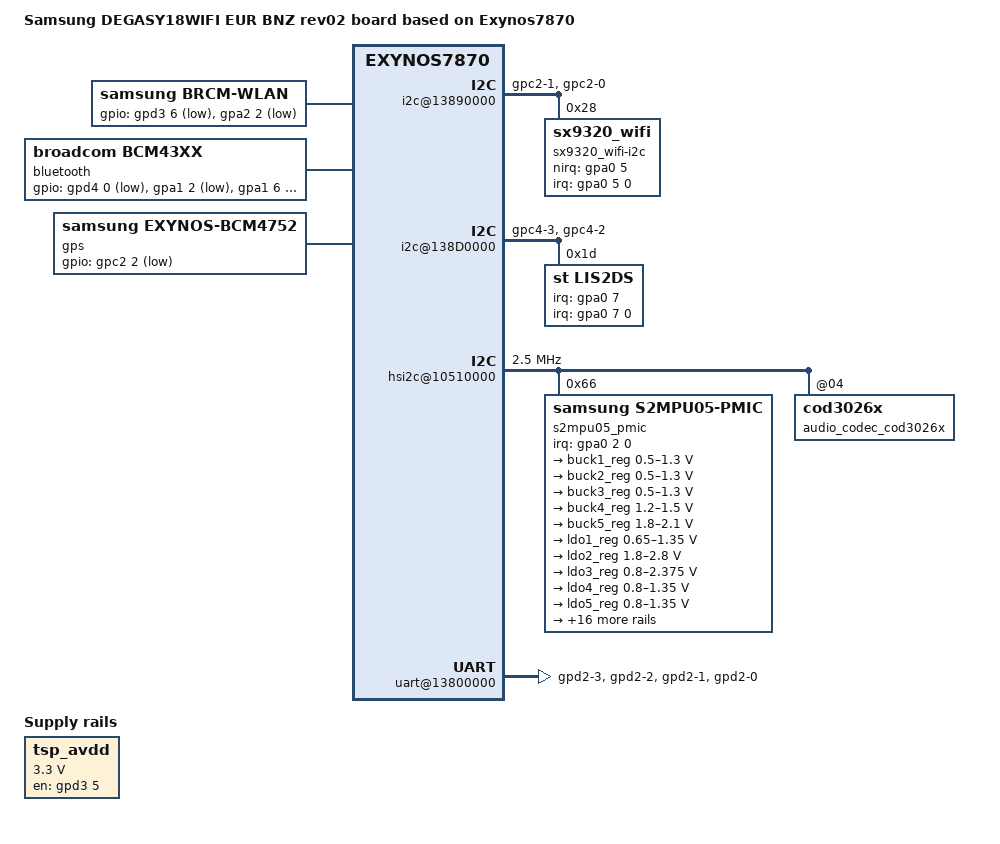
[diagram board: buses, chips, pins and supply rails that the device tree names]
/*
 * SAMSUNG UNIVERSAL8890 board device tree source
 *
 * Copyright (c) 2013 Samsung Electronics Co., Ltd.
 *		http://www.samsung.com
 *
 * This program is free software; you can redistribute it and/or modify
 * it under the terms of the GNU General Public License version 2 as
 * published by the Free Software Foundation.
 */

/dts-v1/;
#include "exynos7870-degasy18wifi_common.dtsi"
#include "modem-ss315ap-pdata.dtsi"
#include "exynos7870-degasy18wifi_eur_bnz_gpio_02.dtsi"
#include "exynos7870-degasy18wifi_eur_bnz_battery_00.dtsi"

/ {
	model = "Samsung DEGASY18WIFI EUR BNZ rev02 board based on Exynos7870";
	model_info-chip = <7870>;
	model_info-platform = "android";
	model_info-subtype = "samsung";
	model_info-hw_rev = <2>;
	model_info-hw_rev_end = <255>;
	compatible = "samsung, DEGASY18WIFI EUR BNZ 02", "samsung,exynos7870";

	pinctrl@139C0000 {
		grip_i2c: grip_i2c {
			samsung,pins = "gpc2-1", "gpc2-0";
			samsung,pin-function = <2>;
			samsung,pin-pud = <0>;
		};
	};

	pinctrl@139B0000 {
		sensor_i2c: sensor_i2c {
			samsung,pins = "gpc4-3", "gpc4-2";
			samsung,pin-function = <2>;
			samsung,pin-pud = <0>;
		};
	};

	pinctrl@139F0000 {
		grip_wifi_int: grip_wifi_int {
			samsung,pins = "gpa0-5";
			samsung,pin-function = <0xF>;
			samsung,pin-pud = <0>;
			samsung,pin-drv = <0>;
		};

		acc_int: acc_int {
			samsung,pins = "gpa0-7";
			samsung,pin-function = <0xF>;
			samsung,pin-pud = <0>;
			samsung,pin-drv = <0>;
		};
	};

	i2c@13890000{
		samsung,i2c-sda-delay = <100>;
		samsung,i2c-max-bus-freq = <400000>;
		status = "okay";
		#address-cells = <1>;
		#size-cells = <0>;
		pinctrl-names = "default";
		pinctrl-0 = <&grip_i2c>;

		sx9320_wifi-i2c@28 {
			compatible = "sx9320_wifi";
			reg = <0x28>;
			pinctrl-names = "default";
			pinctrl-0 = <&grip_wifi_int>;
			interrupt-parent = <&gpa0>;
			interrupts = <5 0 0>;

			sx9320,nirq-gpio = <&gpa0 5 0>;
			/* only phase 3 enable */
			sx9320,phen = <0x03>;
			sx9320,gain = <0x01>;
			sx9320,again = <0x08>;
			sx9320,scan_period = <0x16>;
			sx9320,range = <0x00>;
			sx9320,sampling_freq = <0x00>;
			sx9320,resolution = <0x07>;
			sx9320,rawfilt = <0x01>;
			sx9320,hyst = <0x01>;
			sx9320,avgposfilt = <0x04>;
			sx9320,avgnegfilt = <0x01>;
			sx9320,avgthresh = <0x20>;
			#sx9320,debouncer = <0x01>;
			sx9320,normal_thd = <0x20>;
		};
	};

	i2c@138D0000 {
		samsung,i2c-sda-delay = <100>;
		samsung,i2c-max-bus-freq = <400000>;
		status = "okay";
		#address-cells = <1>;
		#size-cells = <0>;
		pinctrl-names = "default";
		pinctrl-0 = <&sensor_i2c>;

		lis2ds@1D {
			compatible = "st,lis2ds";
			reg = <0x1D>;
			pinctrl-names = "default";
			pinctrl-0 = <&acc_int>;
			interrupt-parent = <&gpa0>;
			interrupts = <7 0 0>;
			st,orientation = <1 2 1 0 1 1 1 1 0>;
			st,drdy-int-pin = <1>;
			st,irq_gpio = <&gpa0 7 0x00>;
		};
	};

	hsi2c@10510000 {
		status = "okay";
		samsung,hs-mode;
		clock-frequency = <2500000>;
		samsung,hsi2c-batcher;
		#address-cells = <1>;
		#size-cells = <0>;

		s2mpu05_pmic@66 {
			compatible = "samsung,s2mpu05-pmic";
			reg = <0x66>;
			ten-bit-address;
			interrupts = <2 0 0>;
			interrupt-parent = <&gpa0>;
			pinctrl-names = "default";
			pinctrl-0 = <&pmic_irq &pm_wrsti>;
			g3d_en = <1>; /* 1 : enable , 0 : disable */
			buck2en_pin = "etc1-3";
			buck2en_addr = "139B0080.pinctrl";
			/* RTC: wtsr/smpl */
			wtsr_en = <1>; /* enable */
			smpl_en = <1>; /* enable */
			wtsr_timer_val = <3>;   /* 1000ms */
			smpl_timer_val = <0>;   /* 100ms */
			check_jigon = <1>; /* default is 0 but check jigon and disable smpl because of REV0.2 HW defect */
			/* RTC: If it's first boot, reset rtc to 1/1/2016 12:00:00(Fri) */
			init_time,sec = <0>;
			init_time,min = <0>;
			init_time,hour = <12>;
			init_time,mday = <1>;
			init_time,mon = <0>;
			init_time,year = <116>;
			init_time,wday = <5>;

			regulators {
				buck1_reg: BUCK1 {
					regulator-name = "BUCK1";
					regulator-min-microvolt = <500000>;
					regulator-max-microvolt = <1300000>;
					regulator-always-on;
					regulator-boot-on;
					regulator-ramp-delay = <12000>;
					regulator-initial-mode = <1>;
					regulator-expected-consumer = <2>;
				};

				buck2_reg: BUCK2 {
					regulator-name = "BUCK2";
					regulator-min-microvolt = <500000>;
					regulator-max-microvolt = <1300000>;
					regulator-always-on;
					regulator-boot-on;
					regulator-ramp-delay = <12000>;
					regulator-initial-mode = <2>;		/* MIF mode */
					regulator-expected-consumer = <4>;
				};

				buck3_reg: BUCK3 {
					regulator-name = "BUCK3";
					regulator-min-microvolt = <500000>;
					regulator-max-microvolt = <1300000>;
					regulator-always-on;
					regulator-boot-on;
					regulator-ramp-delay = <12000>;
					regulator-initial-mode = <2>;
				};

				buck4_reg: BUCK4 {
					regulator-name = "BUCK4";
					regulator-min-microvolt = <1200000>;
					regulator-max-microvolt = <1500000>;
					regulator-always-on;
					regulator-boot-on;
					regulator-ramp-delay = <12000>;
					regulator-initial-mode = <2>;
				};

				buck5_reg: BUCK5 {
					regulator-name = "BUCK5";
					regulator-min-microvolt = <1800000>;
					regulator-max-microvolt = <2100000>;
					regulator-always-on;
					regulator-boot-on;
					regulator-ramp-delay = <12000>;
					regulator-initial-mode = <2>;
				};

				ldo1_reg: LDO1 {
					regulator-name = "vdd_ldo1";
					regulator-min-microvolt = <650000>;
					regulator-max-microvolt = <1350000>;
					regulator-always-on;
					regulator-boot-on;
					regulator-ramp-delay = <12000>;
					regulator-initial-mode = <3>;
				};

				ldo2_reg: LDO2 {
					regulator-name = "vqmmc";
					regulator-min-microvolt = <1800000>;
					regulator-max-microvolt = <2800000>;
					regulator-ramp-delay = <12000>;
					regulator-initial-mode = <0>;
				};

				ldo3_reg: LDO3 {
					regulator-name = "vdd_ldo3";
					regulator-min-microvolt = <800000>;
					regulator-max-microvolt = <2375000>;
					regulator-boot-on;
					regulator-always-on;
					regulator-ramp-delay = <12000>;
					regulator-initial-mode = <3>;
				};

				ldo4_reg: LDO4 {
					regulator-name = "vdd_ldo4";
					regulator-min-microvolt = <800000>;
					regulator-max-microvolt = <1350000>;
					regulator-boot-on;
					regulator-always-on;
					regulator-ramp-delay = <12000>;
					regulator-initial-mode = <1>;
				};

				ldo5_reg: LDO5 {
					regulator-name = "vdd_ldo5";
					regulator-min-microvolt = <800000>;
					regulator-max-microvolt = <1350000>;
					regulator-boot-on;
					regulator-always-on;
					regulator-ramp-delay = <12000>;
					regulator-initial-mode = <3>;
				};

				ldo6_reg: LDO6 {
					regulator-name = "vdd_ldo6";
					regulator-min-microvolt = <800000>;
					regulator-max-microvolt = <1350000>;
					regulator-boot-on;
					regulator-always-on;
					regulator-ramp-delay = <12000>;
					regulator-initial-mode = <1>;
				};

				ldo7_reg: LDO7 {
					regulator-name = "vdd_ldo7";
					regulator-min-microvolt = <800000>;
					regulator-max-microvolt = <2375000>;
					regulator-boot-on;
					regulator-always-on;
					regulator-ramp-delay = <12000>;
					regulator-initial-mode = <1>;
				};

				ldo8_reg: LDO8 {
					regulator-name = "vdd_ldo8";
					regulator-min-microvolt = <1800000>;
					regulator-max-microvolt = <3375000>;
					regulator-boot-on;
					regulator-always-on;
					regulator-ramp-delay = <12000>;
					regulator-initial-mode = <1>;
				};

				ldo9_reg: LDO9 {
					regulator-name = "vdd_ldo9";
					regulator-min-microvolt = <650000>;
					regulator-max-microvolt = <1350000>;
					regulator-always-on;
					regulator-ramp-delay = <12000>;
					regulator-initial-mode = <1>;
				};

				ldo10_reg: LDO10 {
					regulator-name = "vdd_ldo10";
					regulator-min-microvolt = <650000>;
					regulator-max-microvolt = <1350000>;
					regulator-always-on;
					regulator-ramp-delay = <12000>;
					regulator-initial-mode = <1>;
				};

				ldo25_reg: LDO25 {
					regulator-name = "vdd_ldo25";
					regulator-min-microvolt = <800000>;
					regulator-max-microvolt = <2375000>;
					regulator-ramp-delay = <12000>;
					regulator-initial-mode = <1>;
				};

				ldo26_reg: LDO26 {
					regulator-name = "vemmc";
					regulator-min-microvolt = <1800000>;
					regulator-max-microvolt = <3375000>;
					regulator-boot-on;
					regulator-ramp-delay = <12000>;
					regulator-initial-mode = <3>;
				};

				ldo27_reg: LDO27 {
					regulator-name = "vqemmc";
					regulator-min-microvolt = <800000>;
					regulator-max-microvolt = <2375000>;
					regulator-boot-on;
					regulator-ramp-delay = <12000>;
					regulator-initial-mode = <3>;
				};

				ldo28_reg: LDO28 {
					regulator-name = "LDO28";
					regulator-min-microvolt = <3300000>;
					regulator-max-microvolt = <3300000>;
				};

				ldo29_reg: LDO29 {
					regulator-name = "VDD_GRIP_1P8_PM";
					regulator-min-microvolt = <1800000>;
					regulator-max-microvolt = <1800000>;
					regulator-boot-on;
					regulator-always-on;
					regulator-ramp-delay = <12000>;
					regulator-initial-mode = <3>;
				};

				ldo30_reg: LDO30 {
					regulator-name = "LCD_1P8";
					regulator-min-microvolt = <1800000>;
					regulator-max-microvolt = <1800000>;
					regulator-initial-mode = <3>;
				};

				ldo31_reg: LDO31 {
					regulator-name = "vdd_ldo31";
					regulator-min-microvolt = <2800000>;
					regulator-max-microvolt = <2800000>;
					regulator-always-on;
					regulator-ramp-delay = <12000>;
					regulator-initial-mode = <3>;
				};

				ldo32_reg: LDO32 {
					regulator-name = "tsp_io";
					regulator-min-microvolt = <1800000>;
					regulator-max-microvolt = <1800000>;
					regulator-boot-on;
					regulator-ramp-delay = <12000>;
				};

				ldo33_reg: LDO33 {
					regulator-name = "VDD_CAM_AF_2P8";
					regulator-min-microvolt = <2800000>;
					regulator-max-microvolt = <2800000>;
					regulator-initial-mode = <0>;
				};

				ldo34_reg: LDO34 {
					regulator-name = "VDDIO_1.8V_CAM";
					regulator-min-microvolt = <1800000>;
					regulator-max-microvolt = <1800000>;
				};

				ldo35_reg: LDO35 {
					regulator-name = "VDD_CAM_SENSOR_A2P8";
					regulator-min-microvolt = <2800000>;
					regulator-max-microvolt = <2800000>;
					regulator-initial-mode = <0>;
				};
			};
		};
		audio_codec_cod3026x: cod3026x@04 { 
			but-zones-list = <&but_zones 226 0 368>, /* send/end */ 
					<&but_zones 582 369 439>, /* google */ 
					<&but_zones 115 440 617>, /* vol up */ 
					<&but_zones 114 618 1200>; /* vol down */ 
			mic-adc-range = <1394>; 
		}; 

	};

  wlan {
		compatible = "samsung,brcm-wlan";
		gpios = <&gpd3 6 0x1 /* WLAN_EN */
			&gpa2 2 0x1>; /* WLAN_HOST_WAKE */
		pinctrl-names = "default";
		pinctrl-0 = <&cfg_wlanen &cfg_wlanhostwake>;
		status = "okay";
	};

	pinctrl@13750000 {
		sd1_bus1: sd1-bus-width1 {
			samsung,pin-pud = <3>;
		};

		sd1_bus4: sd1-bus-width4 {
			samsung,pin-pud = <3>;
		};
	};

	bluetooth {
		compatible = "broadcom,bcm43xx";
		gpios = <&gpd4 0 0x1	/*BT_EN*/
			&gpa1 2 0x1	/*BT_WAKE*/
			&gpa1 6 0xF	/*BT_HOST_WAKE*/ >;
		pinctrl-names = "default";
		pinctrl-0=<&bt_hostwake_bcm &bt_btwake_bcm &bt_en_bcm>;
		status = "okay";
	};

	pinctrl@139B0000 {
		cfg_wlanen: cfg-wlanen  {       /* WLAN_EN */
			samsung,pins = "gpd3-6";
			samsung,pin-function = <1>;
			samsung,pin-pud = <0>;
			samsung,pin-drv = <3>;
			samsung,pin-con-pdn = <3>;
			samsung,pin-pud-pdn = <0>;
			samsung,pin-val = <0>;
		};
	};

	pinctrl@139F0000 {

		bt_btwake_bcm: bt-btwake {
			samsung,pins = "gpa1-2";
			samsung,pin-function = <1>;
			samsung,pin-pud = <0>;
			samsung,pin-con-pdn = <3>;
			samsung,pin-pud-pdn = <0>;
		};

		bt_hostwake_bcm: bt-hostwake {
			samsung,pins = "gpa1-6";
			samsung,pin-function = <0>;
			samsung,pin-pud = <0>;
			samsung,pin-con-pdn = <2>;
			samsung,pin-pud-pdn = <0>;
		};

		fmradio_irq: fmradio-irq {
			samsung,pins = "gpa2-4";
			samsung,pin-function = <0xf>;
			samsung,pin-pud = <0>;
			samsung,pin-drv = <0>;
		};
	};

	pinctrl@139B0000 {
		uart1_rts: uart1-rts {
			samsung,pins = "gpd2-3";
			samsung,pin-function = <2>;
			samsung,pin-pud = <1>;
			samsung,pin-con-pdn = <3>;
			samsung,pin-pud-pdn = <1>;
		};

		uart1_cts: uart1-cts {
			samsung,pins = "gpd2-2";
			samsung,pin-function = <2>;
			samsung,pin-pud = <1>;
			samsung,pin-con-pdn = <3>;
			samsung,pin-pud-pdn = <1>;
		};

		uart1_tx: uart1-tx {
			samsung,pins = "gpd2-1";
			samsung,pin-function = <2>;
			samsung,pin-pud = <3>;
			samsung,pin-con-pdn = <3>;
			samsung,pin-pud-pdn = <3>;
		};

		uart1_rx: uart1-rx {
			samsung,pins = "gpd2-0";
			samsung,pin-function = <2>;
			samsung,pin-pud = <3>;
			samsung,pin-con-pdn = <3>;
			samsung,pin-pud-pdn = <3>;
		};

		bt_en_bcm: bt-en {
			samsung,pins = "gpd4-0";
			samsung,pin-function = <1>;
			samsung,pin-pud = <0>;
			samsung,pin-con-pdn = <3>;
			samsung,pin-pud-pdn = <0>;
		};

	};

	uart@13800000 {
		status = "okay";
		pinctrl-names = "default";
		pinctrl-0 = <&uart1_rts &uart1_cts &uart1_tx &uart1_rx>;
	};

	gps {
		compatible = "samsung,exynos-bcm4752";
		gpios = <&gpc2 2 0x1 >; /* GPS_EN */
		status = "okay";
	};

	/* tsp_avdd 3.3v*/
	tsp-avdd {
		compatible = "regulator-fixed";
		regulator-name = "tsp_avdd";
		gpio = <&gpd3 5 0>;
		enable-active-high;
		regulator-min-microvolt = <3300000>;
		regulator-max-microvolt = <3300000>;
		regulator-boot-on;
		regulator-ramp-delay = <12000>;
		//regulator-initial-mode = <2>;
	};

};
